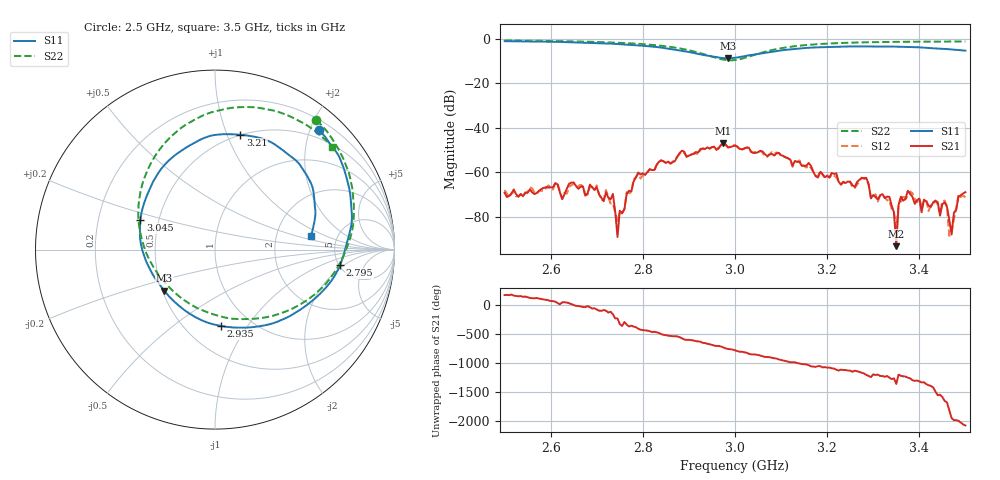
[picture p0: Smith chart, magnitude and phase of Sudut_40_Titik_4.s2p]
# Hz S RI R 50
! CMT, C1220, 16058040, 17.2.0/1
! Date: 15/08/2018 10:31:29
! Data: Format (Calibration Info)
! Freq  S11: Re/Im (F2)  S21: Re/Im (F2)  S12: Re/Im (F2)  S22: Re/Im (F2)
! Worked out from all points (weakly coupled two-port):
!   201 points, 2.5 GHz to 3.5 GHz, reference 50 ohm
!   highest |S21| = -47.01 dB at 2.975 GHz (marker M1); lowest = -93.3 dB at 3.35 GHz (marker M2)
!   lowest |S11| = -8.8 dB at 2.985 GHz (marker M3), VSWR 2.14, Z = 25.6 - j13.5 ohm
!   |S11| at or under -10 dB: nowhere
!   |S22| runs from -9.7 to -0.8 dB; largest |S21 - S12| = 0.00028
!   S11 on the Smith chart (normalised r, x): 2.5 GHz: 0.35, +2.14; 2.795 GHz: 5.13, -1.72; 2.935 GHz: 0.73, -0.76; 3.045 GHz: 0.39, +0.16; 3.21 GHz: 0.50, +1.12; 3.5 GHz: 3.18, +0.70
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2.5e9  0.579 0.6668  -0.000335 7.76e-05  -0.000396 -1.56e-07  0.5654 0.7219
2.67e9  0.7486 0.3369  0.000366 -0.000304  0.000362 -0.000312  0.7366 0.4521
2.735e9  0.7604 0.1449  -0.000313 -8.89e-05  -0.00019 -6.06e-05  0.7696 0.2885
2.745e9  0.7538 0.1091  -1.96e-05 2.88e-05  2.62e-05 6.89e-05  0.7727 0.2586
2.795e9  0.6976 -0.0847  0.000278 -0.000842  0.000231 -0.000684  0.76 0.0897
2.835e9  0.6013 -0.2297  -0.00106 -0.00136  -0.000984 -0.0013  0.7013 -0.0654
2.935e9  0.0317 -0.4247  0.00173 0.00284  0.00163 0.00289  0.2145 -0.3853
2.975e9  -0.2293 -0.2875  0.00426 -0.00133  0.00413 -0.00133  -0.0995 -0.3257
2.985e9  -0.2822 -0.2291  0.00261 -0.00244  0.00275 -0.00233  -0.1726 -0.2813
3e9  -0.3487 -0.1357  0.00163 -0.00361  0.00143 -0.00375  -0.268 -0.1965
3.045e9  -0.4162 0.1656  -0.00209 -0.00175  -0.0022 -0.00184  -0.4237 0.1361
3.17e9  -0.0094 0.6373  0.000987 0.000224  0.000974 0.000299  -0.0781 0.7421
3.21e9  0.1415 0.6397  0.000926 -0.000263  0.000847 -0.000271  0.0679 0.7856
3.335e9  0.4655 0.4822  -0.000279 -1.26e-05  -0.000228 5.2e-05  0.4041 0.7483
3.35e9  0.4881 0.4503  6.25e-06 2.08e-05  -5.52e-05 1.4e-05  0.4324 0.7355
3.375e9  0.5234 0.3923  -0.000383 -1.07e-05  -0.000305 -4.35e-05  0.4804 0.7108
3.405e9  0.5479 0.3259  -1.86e-05 0.000124  -8.32e-05 0.000138  0.5284 0.681
3.435e9  0.5556 0.2428  0.000127 -0.000192  7.98e-05 -0.000209  0.5721 0.648
3.445e9  0.5593 0.2179  -3.78e-05 -9.8e-05  -4.11e-05 -0.000106  0.5865 0.6359
3.455e9  0.5593 0.1941  -0.00016 0.000135  -0.000181 0.000139  0.5996 0.6253
3.465e9  0.5563 0.1708  8.11e-05 -2.79e-05  4.08e-06 3.67e-05  0.6113 0.615
3.5e9  0.5347 0.0783  7.48e-05 0.000347  6.91e-05 0.000262  0.6515 0.5735
